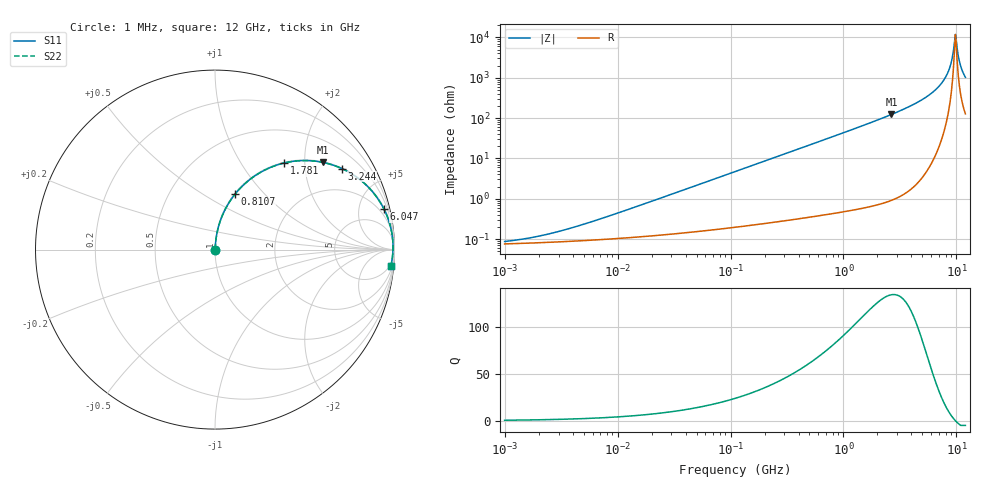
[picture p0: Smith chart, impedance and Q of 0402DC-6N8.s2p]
# MHz  S  MA  R  50
!Freq  MagS11  AngS11  MagS21  AngS21  MagS12  AngS12  MagS22  AngS22
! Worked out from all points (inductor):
!   801 points, 1 MHz to 12 GHz, reference 50 ohm
!   read as one part in series: L = 6.8 nH near 6.789 MHz
!   highest Q = 135 at 2.656 GHz (marker M1), where L = 7.34 nH
!   self-resonance near 9.789 GHz
!   S11 on the Smith chart (normalised r, x): 1 MHz: 1.00, +0.00; 810.7 MHz: 1.01, +0.70; 1.781 GHz: 1.01, +1.57; 3.244 GHz: 1.02, +3.11; 6.047 GHz: 1.16, +8.34; 12 GHz: 4, -20
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1  0.0008682 29.4  0.9992 -0.0  0.9992 -0.0  0.0008682 29.4
2.121332  0.001217 48.0  0.9992 -0.1  0.9992 -0.1  0.001217 48.0
4.828773  0.002252 66.1  0.9991 -0.1  0.9991 -0.1  0.002252 66.1
23.04466  0.009911 82.3  0.9987 -0.6  0.9987 -0.6  0.009911 82.3
109.9775  0.04689 84.9  0.997 -2.7  0.997 -2.7  0.04689 84.9
524.8526  0.2187 76.5  0.9724 -12.6  0.9724 -12.6  0.2187 76.5
810.6959  0.3281 70.1  0.9406 -19.2  0.9406 -19.2  0.3281 70.1
1781.461  0.6161 51.5  0.7826 -38.0  0.7826 -38.0  0.6161 51.5
2534.394  0.7548 40.6  0.6504 -49.0  0.6504 -49.0  0.7548 40.6
2656.361  0.7719 39.1  0.6301 -50.5  0.6301 -50.5  0.7719 39.1
3243.714  0.8384 32.6  0.5387 -57.0  0.5387 -57.0  0.8384 32.6
4614.667  0.9269 21.5  0.3659 -68.0  0.3659 -68.0  0.9269 21.5
6046.657  0.9684 13.4  0.2322 -75.5  0.2322 -75.5  0.9684 13.4
7212.142  0.984 8.4  0.1465 -79.5  0.1465 -79.5  0.984 8.4
8207.296  0.9901 4.8  0.08463 -80.9  0.08463 -80.9  0.9901 4.8
8806.831  0.9917 2.9  0.0513 -79.2  0.0513 -79.2  0.9917 2.9
9450.161  0.9919 1.0  0.01908 -64.5  0.01908 -64.5  0.9919 1.0
9789.24  0.9916 0.0  0.00841 -4.6  0.00841 -4.6  0.9916 0.0
10140.49  0.991 -0.9  0.01829 60.0  0.01829 60.0  0.991 -0.9
10628.5  0.9896 -2.2  0.03938 73.6  0.03938 73.6  0.9896 -2.2
11009.85  0.9882 -3.1  0.05577 76.3  0.05577 76.3  0.9882 -3.1
12000  0.9835 -5.5  0.09618 77.4  0.09618 77.4  0.9835 -5.5
